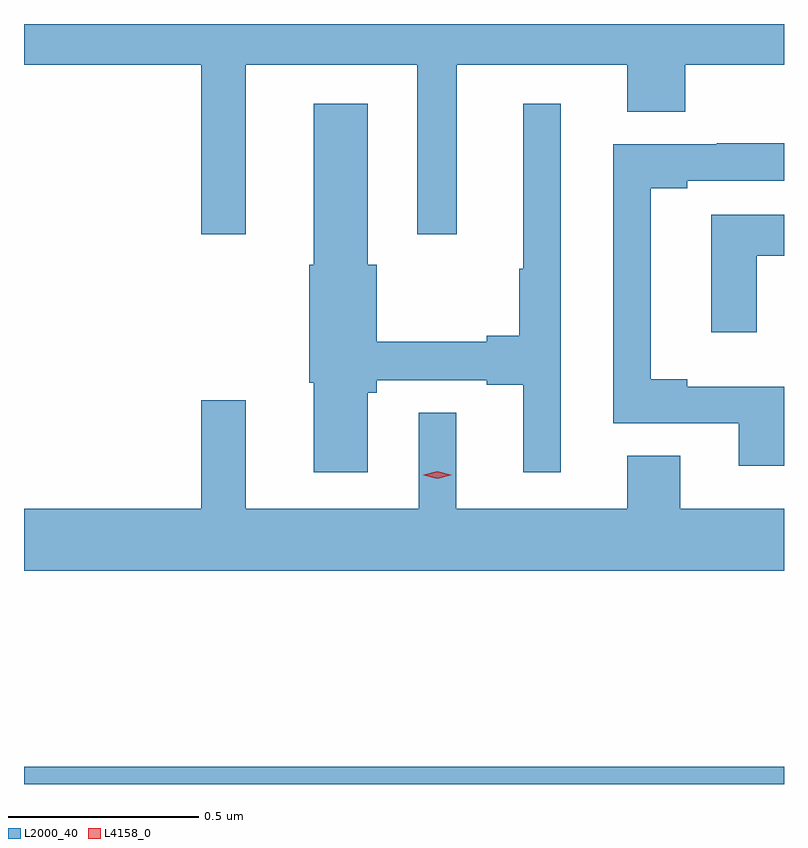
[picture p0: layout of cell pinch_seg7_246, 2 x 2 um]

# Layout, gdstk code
import gdstk
lib = gdstk.Library(unit=1e-6, precision=1e-09)
def R(c, l, rs):  # rectangles x0, y0, x1, y1
    for r in rs: c.add(gdstk.rectangle(r[:2], r[2:], *l))
def P(c, l, *ps):  # polygons
    for p in ps: c.add(gdstk.Polygon(p, *l))
L2000_40 = (2000, 40)
L4158_0 = (4158, 0)

pinch_seg7_246 = lib.new_cell('pinch_seg7_246')
R(pinch_seg7_246, L2000_40, [(844.346,1053.335,846.346,1053.38)])
P(pinch_seg7_246, L2000_40, [(844.93,1055.228),(845.381,1055.228),(845.381,1054.782),(845.485,1054.782),(845.485,1055.228),(845.933,1055.228),(845.933,1055.104),(846.086,1055.104),(846.086,1055.228),(846.346,1055.228),(846.346,1055.335),(844.346,1055.335),(844.346,1055.228),(844.813,1055.228),(844.813,1054.782),(844.93,1054.782)],
  [(845.251,1054.365),(845.274,1054.365),(845.274,1054.398),(845.564,1054.398),(845.564,1054.386),(845.66,1054.386),(845.66,1054.155),(845.758,1054.155),(845.758,1055.125),(845.66,1055.125),(845.66,1054.691),(845.649,1054.691),(845.649,1054.514),(845.564,1054.514),(845.564,1054.499),(845.274,1054.499),(845.274,1054.701),(845.251,1054.701),(845.251,1055.125),(845.108,1055.125),(845.108,1054.701),(845.096,1054.701),(845.096,1054.391),(845.108,1054.391),(845.108,1054.155),(845.251,1054.155)],
  [(846.346,1054.381),(846.091,1054.381),(846.091,1054.4),(845.995,1054.4),(845.995,1054.903),(846.091,1054.903),(846.091,1054.923),(846.346,1054.923),(846.346,1055.021),(846.169,1055.021),(846.169,1055.019),(845.897,1055.019),(845.897,1054.284),(846.227,1054.284),(846.227,1054.172),(846.346,1054.172)],
  [(846.274,1054.725),(846.346,1054.725),(846.346,1054.833),(846.155,1054.833),(846.155,1054.524),(846.274,1054.524)],
  [(846.346,1054.06),(846.073,1054.06),(846.073,1054.199),(845.933,1054.199),(845.933,1054.06),(845.483,1054.06),(845.483,1054.312),(845.385,1054.312),(845.385,1054.06),(844.93,1054.06),(844.93,1054.345),(844.813,1054.345),(844.813,1054.06),(844.346,1054.06),(844.346,1053.896),(846.346,1053.896)])
P(pinch_seg7_246, L4158_0, [(845.434,1054.138),(845.398,1054.148),(845.398,1054.148),(845.398,1054.149),(845.434,1054.158),(845.469,1054.149),(845.47,1054.148),(845.469,1054.148)])

lib.write_gds('pinch_seg7_246.gds')
